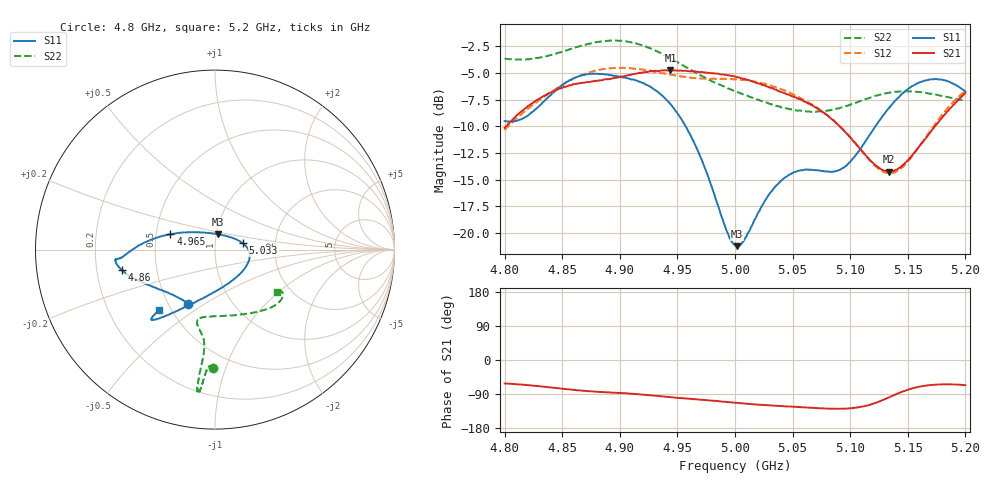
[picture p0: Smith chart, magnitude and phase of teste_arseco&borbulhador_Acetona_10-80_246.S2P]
! Network Analyzer HP8722D
! Hewlett-Packard
! Data name: Linha & Wilkinson
! Saver's name: Rodrigo Anjos
! Comments: Teste da utilização de aquisição
! continua pelo VNA HP8722D
! Time and date: 17/4/2025 16:24
!  Frequency  S11  S21  S12  S22
# HZ  S  MA R 50
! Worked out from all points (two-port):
!   401 points, 4.8 GHz to 5.2 GHz, reference 50 ohm
!   highest |S21| = -4.73 dB at 4.944 GHz (marker M1); lowest = -14.2 dB at 5.134 GHz (marker M2)
!   |S21| within 3 dB of the highest: 4.825 GHz to 5.062 GHz (236.7 MHz wide, 4.79 % of centre); 5.191833 GHz to end of sweep
!   lowest |S11| = -21.2 dB at 5.002 GHz (marker M3), VSWR 1.19, Z = 50.8 + j8.76 ohm
!   |S11| at or under -10 dB: 4.957 GHz to 5.122 GHz (164.5 MHz wide, 3.26 % of centre)
!   |S22| runs from -8.6 to -1.9 dB; largest |S21 - S12| = 0.87
!   S11 on the Smith chart (normalised r, x): 4.8 GHz: 0.63, -0.43; 4.86 GHz: 0.31, -0.10; 4.965 GHz: 0.59, +0.11; 5.033 GHz: 1.37, +0.10; 5.2 GHz: 0.43, -0.37
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4.8e9  0.3354 -116.2  0.3114 -62.1  0.3046 -176.3  0.6575 -91.2
4.819e9  0.3531 -136.4  0.389 -66.0  0.3778 -175.7  0.6535 -92.8
4.86e9  0.5329 -167.8  0.4989 -78.8  0.5306 -178.9  0.7366 -95.2
4.867e9  0.5491 -170.5  0.5061 -80.9  0.5507 179.7  0.7573 -95.4
4.902e9  0.5377 -174.7  0.5424 -87.4  0.5957 173.1  0.7957 -97.1
4.934e9  0.4549 179.6  0.5747 -95.4  0.5692 170.3  0.7046 -97.2
4.944e9  0.4024 174.9  0.5802 -98.1  0.5527 170.5  0.661 -96.9
4.965e9  0.2624 161.0  0.5742 -103.5  0.5333 172.2  0.5687 -96.3
4.993e9  0.1016 113.7  0.5503 -110.8  0.5285 174.5  0.4798 -98.6
5e9  0.08778 88.2  0.5416 -112.5  0.5273 174.6  0.4632 -100.1
5.002e9  0.08691 80.1  0.5389 -113.2  0.5258 174.6  0.4589 -100.5
5.008e9  0.09313 58.1  0.5291 -114.9  0.5221 174.4  0.4457 -101.8
5.033e9  0.1605 12.6  0.4768 -120.2  0.4867 173.2  0.401 -103.5
5.049e9  0.1899 -2.9  0.4391 -123.2  0.4508 172.8  0.3801 -98.9
5.067e9  0.1982 -22.1  0.3975 -126.2  0.4001 172.3  0.3712 -88.8
5.096e9  0.2061 -72.7  0.2968 -128.2  0.2974 174.6  0.3937 -66.2
5.121e9  0.3114 -110.5  0.2101 -114.4  0.2084 -169.3  0.4384 -49.5
5.134e9  0.388 -120.6  0.1943 -98.1  0.1904 -151.2  0.4551 -43.3
5.148e9  0.4642 -126.9  0.2141 -80.5  0.2102 -130.7  0.4624 -38.0
5.167e9  0.5208 -131.4  0.2843 -67.0  0.2883 -113.7  0.4529 -33.4
5.184e9  0.5169 -132.8  0.3708 -64.2  0.3822 -108.6  0.4351 -32.2
5.2e9  0.4603 -132.8  0.453 -66.4  0.4643 -108.4  0.4169 -34.7
